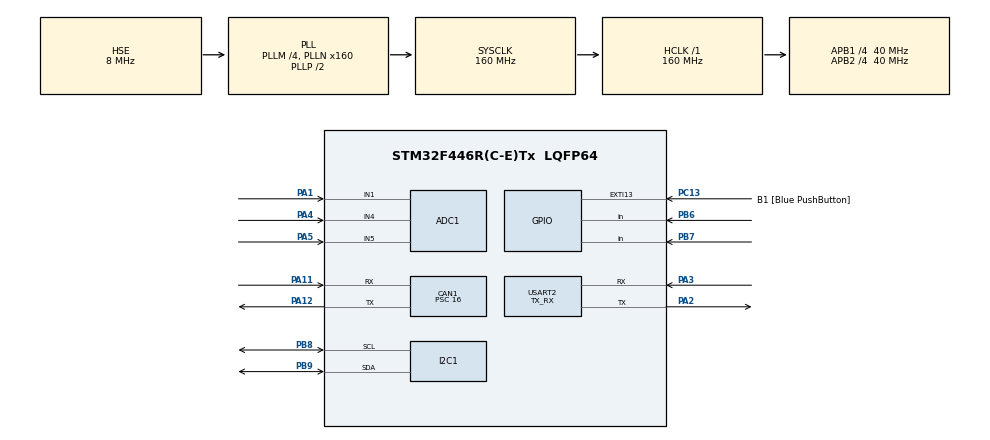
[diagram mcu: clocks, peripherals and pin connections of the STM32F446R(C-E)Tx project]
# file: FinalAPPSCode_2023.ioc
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ADC1.Channel-0\#ChannelRegularConversion=ADC_CHANNEL_1
ADC1.Channel-6\#ChannelInjectedConversion=ADC_CHANNEL_1
ADC1.Channel-7\#ChannelInjectedConversion=ADC_CHANNEL_4
ADC1.Channel-8\#ChannelInjectedConversion=ADC_CHANNEL_5
ADC1.ContinuousConvMode=ENABLE
ADC1.DMAContinuousRequests=DISABLE
ADC1.EOCSelection=ADC_EOC_SEQ_CONV
ADC1.ExternalTrigInjecConv=ADC_EXTERNALTRIGINJECCONV_T5_TRGO
ADC1.InjNumberOfConversion=3
ADC1.InjectedOffset-6\#ChannelInjectedConversion=0
ADC1.InjectedOffset-7\#ChannelInjectedConversion=0
ADC1.InjectedOffset-8\#ChannelInjectedConversion=0
ADC1.InjectedRank-6\#ChannelInjectedConversion=1
ADC1.InjectedRank-7\#ChannelInjectedConversion=2
ADC1.InjectedRank-8\#ChannelInjectedConversion=3
ADC1.NbrOfConversion=1
ADC1.NbrOfConversionFlag=1
ADC1.Rank-0\#ChannelRegularConversion=1
ADC1.SamplingTime-0\#ChannelRegularConversion=ADC_SAMPLETIME_84CYCLES
ADC1.SamplingTime-6\#ChannelInjectedConversion=ADC_SAMPLETIME_84CYCLES
ADC1.SamplingTime-7\#ChannelInjectedConversion=ADC_SAMPLETIME_84CYCLES
ADC1.SamplingTime-8\#ChannelInjectedConversion=ADC_SAMPLETIME_84CYCLES
ADC1.master=1
CAN1.BS1=CAN_BS1_3TQ
CAN1.BS2=CAN_BS2_1TQ
CAN1.CalculateBaudRate=500000
CAN1.CalculateTimeBit=2000
CAN1.CalculateTimeQuantum=400.0
CAN1.Mode=CAN_MODE_NORMAL
CAN1.Prescaler=16
Mcu.Family=STM32F4
Mcu.Name=STM32F446R(C-E)Tx
Mcu.Package=LQFP64
NVIC.CAN1_RX0_IRQn=true\:0\:0\:false\:false\:true\:true\:true\:true
NVIC.CAN1_RX1_IRQn=true\:0\:0\:false\:false\:true\:true\:true\:true
NVIC.PriorityGroup=NVIC_PRIORITYGROUP_0
PA0-WKUP.Signal=ADCx_IN0
PA1.Signal=ADCx_IN1
PA11.Mode=CAN_Activate
PA11.Signal=CAN1_RX
PA12.Mode=CAN_Activate
PA12.Signal=CAN1_TX
PA13.GPIO_Label=TMS
PA13.Mode=Serial_Wire
PA13.Signal=SYS_JTMS-SWDIO
PA14.GPIO_Label=TCK
PA14.Mode=Serial_Wire
PA14.Signal=SYS_JTCK-SWCLK
PA2.Mode=Asynchronous
PA2.Signal=USART2_TX
PA3.Mode=Asynchronous
PA3.Signal=USART2_RX
PA4.Signal=ADCx_IN4
PA5.Signal=ADCx_IN5
PA6.Signal=ADCx_IN6
PA7.Signal=ADCx_IN7
PB3.GPIO_Label=SWO
PB3.Signal=SYS_JTDO-SWO
PB6.Signal=GPIO_Input
PB7.Signal=GPIO_Input
PB8.Mode=I2C
PB8.Signal=I2C1_SCL
PB9.Mode=I2C
PB9.Signal=I2C1_SDA
PC13.GPIO_Label=B1 [Blue PushButton]
PC13.GPIO_ModeDefaultEXTI=GPIO_MODE_IT_FALLING
PC13.Signal=GPXTI13
PC14-OSC32_IN.Mode=LSE-External-Oscillator
PC14-OSC32_IN.Signal=RCC_OSC32_IN
PC15-OSC32_OUT.Mode=LSE-External-Oscillator
PC15-OSC32_OUT.Signal=RCC_OSC32_OUT
PH0-OSC_IN.Mode=HSE-External-Oscillator
PH0-OSC_IN.Signal=RCC_OSC_IN
PH1-OSC_OUT.Mode=HSE-External-Oscillator
PH1-OSC_OUT.Signal=RCC_OSC_OUT
ProjectManager.HeapSize=0x200
ProjectManager.StackSize=0x400
ProjectManager.TargetToolchain=STM32CubeIDE
RCC.48MHZClocksFreq_Value=84000000
RCC.AHBFreq_Value=160000000
RCC.APB1CLKDivider=RCC_HCLK_DIV4
RCC.APB1Freq_Value=40000000
RCC.APB1TimFreq_Value=80000000
RCC.APB2CLKDivider=RCC_HCLK_DIV4
RCC.APB2Freq_Value=40000000
RCC.APB2TimFreq_Value=80000000
RCC.CortexFreq_Value=160000000
RCC.FLatency-AdvancedSettings=FLASH_LATENCY_5
RCC.HCLKFreq_Value=160000000
RCC.HSE_VALUE=8000000
RCC.HSI_VALUE=16000000
RCC.PLLM=4
RCC.PLLN=160
RCC.PLLSourceVirtual=RCC_PLLSOURCE_HSE
RCC.SYSCLKFreq_VALUE=160000000
RCC.SYSCLKSource=RCC_SYSCLKSOURCE_PLLCLK
RCC.USBFreq_Value=160000000
RCC.VCOOutputFreq_Value=320000000
SH.ADCx_IN0.0=ADC1_IN0
SH.ADCx_IN1.0=ADC1_IN1,IN1
SH.ADCx_IN4.0=ADC1_IN4,IN4
SH.ADCx_IN5.0=ADC1_IN5,IN5
SH.ADCx_IN6.0=ADC1_IN6
SH.ADCx_IN7.0=ADC1_IN7
TIM5.Period=999
TIM5.Prescaler=159
TIM5.TIM_MasterOutputTrigger=TIM_TRGO_UPDATE
USART2.Mode=MODE_TX_RX
USART2.VirtualMode=VM_ASYNC
VP_TIM5_VS_ClockSourceINT.Mode=Internal
board=NUCLEO-F446RE

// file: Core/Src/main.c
/* USER CODE BEGIN Header */
/**
  ******************************************************************************
  * @file           : main.c
  * @brief          : Main program body
  ******************************************************************************
  * @attention
  *
  * Copyright (c) 2022 STMicroelectronics.
  * All rights reserved.
  *
  * This software is licensed under terms that can be found in the LICENSE file
  * in the root directory of this software component.
  * If no LICENSE file comes with this software, it is provided AS-IS.
  *
  ******************************************************************************
  */
/* USER CODE END Header */
#include "main.h"

/* USER CODE BEGIN Includes */
#include "FEB_CAN.h"
#include "stdio.h"
#include <stdlib.h>
#include <stdbool.h>

/* USER CODE END Includes */

/* USER CODE BEGIN PD */
#define SLEEP_TIME 10

#define ACC_PEDAL_1_START 860.0
#define ACC_PEDAL_1_END 1110.0

#define ACC_PEDAL_2_START 3245.0
#define ACC_PEDAL_2_END 2995.0

//#define BRAKE_PEDAL_1_START 1350.0
//#define BRAKE_PEDAL_1_END 910.0

#define BRAKE_PEDAL_1_START 385.0
#define BRAKE_PEDAL_1_END 565.0

#define BRAKE_PEDAL_2_START 1390.0
#define BRAKE_PEDAL_2_END 1160.0

#define PRESURE_START 345.0
#define PRESURE_END 380.0

#define INIT_VOLTAGE 242 // initial voltage of accumulator
#define PEAK_CURRENT 95  // max current (in amps) we want to pull
#define MAX_TORQUE 230
#define RPM_TO_RAD_S .10472

const uint16_t Sensor_Min = 4095.0/5.0*0.5;
const uint16_t Sensor_Max = 4095.0/5.0*4.5;
/* USER CODE END PD */

ADC_HandleTypeDef hadc1;

CAN_HandleTypeDef hcan1;

I2C_HandleTypeDef hi2c1;

TIM_HandleTypeDef htim5;

UART_HandleTypeDef huart2;

/* USER CODE BEGIN PV */
uint32_t buffer[6]; //Storing two values in the buffer
bool isImpl = false;

struct {
  uint16_t torque;
  uint8_t enabled;
} RMSControl;

float normalized_acc;
float normalized_brake;

const uint8_t TPS_ADDR = 0b1000000 << 1;
// configuration register value
uint8_t CONFIG[2] = {0b01000001, 0b00100111}; // default settings
/*
 * Values needed to calibrate each of the TPS chips. This value gets passed
 * into the init function called in later
 */

// calibration register values
uint8_t MAIN_CAL[2] = {0b00111000, 0b10010000}; // Imax = 50A (change?)
// alert types
uint8_t UNDERV[2] = {0b00010000, 0b00000000};
uint8_t OVERPWR[2] = {0b00001000, 0b00000000};
// limits
uint8_t TPS_LIMIT[2] = {0b00000000, 0b00010110}; // = 22 (change?)
float current_reading;
float voltage_reading;
float shunt_voltage;

//float pedal1;
//float pedal2;
//float pedal3;
//float pedal4;
/*  VALUES FOR DEBUGGING THE BUFFER
float pedal5;
float pedal6;
*/

//float getPedal(uint32_t variable){
//	return (float)variable*3.3/4096;
//}

float FEB_Normalized_Acc_Pedals(){
	// raw ADC readings of the two acc pedal sensors
	uint16_t acc_pedal_1 = HAL_ADCEx_InjectedGetValue(&hadc1, ADC_INJECTED_RANK_2);
	uint16_t acc_pedal_2 = HAL_ADCEx_InjectedGetValue(&hadc1, ADC_INJECTED_RANK_3);
	char buf[128];
	uint8_t buf_len;
	buf_len = sprintf(buf, "acc1:%d acc2:%d\n", acc_pedal_1, acc_pedal_2);
	//HAL_UART_Transmit(&huart2,(uint8_t *)buf, buf_len, HAL_MAX_DELAY);

	// check implausibility for shorting
	if (acc_pedal_1 < Sensor_Min || acc_pedal_1 > Sensor_Max
			|| acc_pedal_2 < Sensor_Min || acc_pedal_2 > Sensor_Max
			|| abs(acc_pedal_1 - acc_pedal_2) < 100) {
		isImpl = true;
		return 0.0;
	}

	//convert to % travel
	// sensor 1 has positive slope
	float ped1_normalized = (acc_pedal_1 - ACC_PEDAL_1_START)/ (ACC_PEDAL_1_END - ACC_PEDAL_1_START);
	// sensor 2 has negative slope
	float ped2_normalized = (acc_pedal_2 - ACC_PEDAL_2_START) / (ACC_PEDAL_2_END - ACC_PEDAL_2_START);

	// sensor measurements mismatch by more than 10%
	if(abs(ped1_normalized - ped2_normalized) > 0.1 ){
		isImpl = true;
		return 0.0;
	}

	float final_normalized = 0.5*(ped1_normalized + ped2_normalized);

	// Implausiblity check if both pedals are stepped
	if (normalized_brake > 0.2 && normalized_acc > 0.1) {
		isImpl = true;
	}

	// recover from implausibility if acc pedal is not 5% less
	if (final_normalized < 0.05 && isImpl) {
		isImpl = false;
	}

	if (!isImpl) {
		final_normalized = final_normalized > 1 ? 1 : final_normalized;
		final_normalized = final_normalized < 0.05 ? 0 : final_normalized;
		return final_normalized;
	} else {
		return 0.0;
	}
}

float FEB_Normalized_Brake_Pedals(){
	uint16_t brake_pedal_1 = HAL_ADCEx_InjectedGetValue(&hadc1, ADC_INJECTED_RANK_1);
	char buf[128];
		uint8_t buf_len;
		buf_len = sprintf(buf, "brake%d\n", brake_pedal_1);
		//HAL_UART_Transmit(&huart2,(uint8_t *)buf, buf_len, HAL_MAX_DELAY);

	float final_normalized = (brake_pedal_1 - BRAKE_PEDAL_1_START)/ (BRAKE_PEDAL_1_END - BRAKE_PEDAL_1_START);
	final_normalized = final_normalized > 1 ? 1 : final_normalized;
	final_normalized = final_normalized < 0.05 ? 0 : final_normalized;

	if (brake_pedal_1 < 10 || brake_pedal_1 > 4085) {
		return 0.0;
	}

	return final_normalized;
}

void FEB_APPS_sendBrake(){
	FEB_CAN_Transmit(&hcan1,APPS_BRAKE_PEDAL,&normalized_brake,sizeof(float));
}

void FEB_RMS_updateTorque() {
  uint8_t message_data[8] = {RMSControl.torque & 0xFF, RMSControl.torque >> 8, 0, 0, 0, RMSControl.enabled, 0, 0};
  FEB_CAN_Transmit(&hcan1, 0x0C0, message_data, 8);
}

void FEB_RMS_setTorque(uint16_t torque) {
  RMSControl.torque = torque * 10;
  FEB_RMS_updateTorque();
}

void FEB_RMS_enable() {
  RMSControl.enabled = 1;
  FEB_RMS_updateTorque();
}

void FEB_RMS_disable() {
  RMSControl.enabled = 0;
  FEB_RMS_updateTorque();
}

void FEB_RMS_Init(){
	// Clear fault in case inverter is powered up before disable command is sent
	uint8_t fault_clear_addr = 20;
	uint8_t fault_clear_data = 0;
	// param msg format (little-endian):
	// 0,1: param addr
	// 2: r/w cmd
	// 3: NA
	// 4,5: data
	// 6,7: NA
	uint8_t param_msg[8] = {fault_clear_addr, 0, 1, 0, fault_clear_data, 0, 0, 0};
	FEB_CAN_Transmit(&hcan1, 0x0C1, param_msg, 8);

	// send disable command to remove lockout
	uint8_t message_data[8] = {0,0,0,0,0,0,0};
	for (int i = 0; i < 10; i++) {
		FEB_CAN_Transmit(&hcan1, 0x0C0, message_data, 8);
		HAL_Delay(10);
	}

	// Select CAN msg to broadcast
	uint8_t param_addr = 148;
	uint8_t CAN_active_msg_byte4 = 0b10100000; // motor position, input voltage
	uint8_t CAN_active_msg_byte5 = 0b10010100; // flux info (dq axes), torque/timer info, internal states
//	uint8_t CAN_active_msg_byte4 = 0xff;
//	uint8_t CAN_active_msg_byte5 = 0xff;
	uint8_t broadcast_msg[8] = {param_addr, 0, 1, 0, CAN_active_msg_byte4, CAN_active_msg_byte5, 0, 0};
	FEB_CAN_Transmit(&hcan1, 0x0C1, broadcast_msg, 8);
}

int16_t min(int16_t x1, int16_t x2) {
	if (x1 < x2) {
		return x1;
	}
	return x2;
}
// returns a maximum torque that can be given from the motor at a given RPM and voltage
uint16_t FEB_getMaxTorque(int16_t voltage, int16_t RPM) {
	int16_t accumulator_voltage = min(INIT_VOLTAGE, (voltage-50) / 10);
	int16_t motor_speed = -1 * RPM * RPM_TO_RAD_S;
	if (motor_speed == 0) {
		return MAX_TORQUE;
	}
	uint16_t maxTorque = min(MAX_TORQUE, (accumulator_voltage * PEAK_CURRENT) / motor_speed);
	return maxTorque;
}

/* USER CODE END PV */

void SystemClock_Config(void);
static void MX_GPIO_Init(void);
static void MX_USART2_UART_Init(void);
static void MX_CAN1_Init(void);
static void MX_ADC1_Init(void);
static void MX_TIM5_Init(void);
static void MX_I2C1_Init(void);

int main(void)
{

  /* MCU Configuration--------------------------------------------------------*/

  /* Reset of all peripherals, Initializes the Flash interface and the Systick. */
  HAL_Init();

  /* Configure the system clock */
  SystemClock_Config();

  /* Initialize all configured peripherals */
  MX_GPIO_Init();
  MX_USART2_UART_Init();
  MX_CAN1_Init();
  MX_ADC1_Init();
  MX_TIM5_Init();
  MX_I2C1_Init();
  /* USER CODE BEGIN 2 */
  HAL_ADCEx_InjectedStart(&hadc1);
  HAL_TIM_Base_Start(&htim5);
  FEB_TPS2482_SETUP(&hi2c1, TPS_ADDR, CONFIG, MAIN_CAL, UNDERV, TPS_LIMIT);

  char buf[128];
  uint8_t buf_len;

  FEB_CAN_Init(&hcan1, APPS_ID); // The transceiver must be connected otherwise you get sent into an infinite loop
  RMSControl.enabled = 0;
  RMSControl.torque= 0.0;

  /* USER CODE END 2 */

  /* Infinite loop */
  while(1)
  {

    /* USER CODE BEGIN 3 */

	  //ready to drive
	  if (SW_MESSAGE.ready_to_drive == 1) {
		  normalized_acc = FEB_Normalized_Acc_Pedals();
		  if (!RMSControl.enabled) {  // when the car just powered on, driver commands ready to drive but rms is not enabled
			  FEB_RMS_Init();
			  RMSControl.enabled = 1;
		  }
	  } else {
		  normalized_acc = FEB_Normalized_Acc_Pedals();
		  normalized_acc = 0.0;
		  RMSControl.enabled = 0;
	  }
	  // Top line is Evan's new function, Bottom line is old APPS function
	  uint16_t torque = normalized_acc * FEB_getMaxTorque(RMS_MESSAGE.HV_Bus_Voltage, RMS_MESSAGE.Motor_Speed);
	  //uint16_t torque = normalized_acc * 130;
	  normalized_brake = FEB_Normalized_Brake_Pedals();
	  FEB_RMS_setTorque(torque);
	  FEB_APPS_sendBrake();

	  // Take and send TPS reading
	  current_reading = FEB_TPS2482_PollBusCurrent(&hi2c1,TPS_ADDR+1);
	  voltage_reading = FEB_TPS2482_PollBusVoltage(&hi2c1, TPS_ADDR+1);
	  shunt_voltage = FEB_TPS2482_GetShunt(&hi2c1, TPS_ADDR+1);
	  FEB_CAN_Transmit(&hcan1,APPS_TPS,&current_reading,sizeof(float));

	  //buf_len = sprintf(buf, "rtd:%d, enable:%d lockout:%d impl:%d acc: %.3f brake: %.3f Bus Voltage: %d Motor Speed: %d current: %.3f voltage: %.3f lvpdb current: %.3f\n", SW_MESSAGE.ready_to_drive, Inverter_enable, Inverter_enable_lockout, isImpl, normalized_acc, normalized_brake, RMS_MESSAGE.HV_Bus_Voltage, RMS_MESSAGE.Motor_Speed, current_reading, voltage_reading, LVPDB_MESSAGE.cp_current);
	  buf_len = sprintf(buf, "current: %.3f voltage: %.3f shuntvolt: %.8f \n", current_reading, voltage_reading,shunt_voltage);
	  HAL_UART_Transmit(&huart2,(uint8_t *)buf, buf_len+1, 1000);
	  //HAL_UART_Transmit(&huart2, "Hello", 5,1000);
	  HAL_Delay(1000);
  }
  /* USER CODE END 3 */
}

void SystemClock_Config(void)
{
  RCC_OscInitTypeDef RCC_OscInitStruct = {0};
  RCC_ClkInitTypeDef RCC_ClkInitStruct = {0};

  /** Configure the main internal regulator output voltage
  */
  __HAL_RCC_PWR_CLK_ENABLE();
  __HAL_PWR_VOLTAGESCALING_CONFIG(PWR_REGULATOR_VOLTAGE_SCALE1);

  /** Initializes the RCC Oscillators according to the specified parameters
  * in the RCC_OscInitTypeDef structure.
  */
  RCC_OscInitStruct.OscillatorType = RCC_OSCILLATORTYPE_HSE;
  RCC_OscInitStruct.HSEState = RCC_HSE_ON;
  RCC_OscInitStruct.PLL.PLLState = RCC_PLL_ON;
  RCC_OscInitStruct.PLL.PLLSource = RCC_PLLSOURCE_HSE;
  RCC_OscInitStruct.PLL.PLLM = 4;
  RCC_OscInitStruct.PLL.PLLN = 160;
  RCC_OscInitStruct.PLL.PLLP = RCC_PLLP_DIV2;
  RCC_OscInitStruct.PLL.PLLQ = 2;
  RCC_OscInitStruct.PLL.PLLR = 2;
  if (HAL_RCC_OscConfig(&RCC_OscInitStruct) != HAL_OK)
  {
    Error_Handler();
  }

  /** Initializes the CPU, AHB and APB buses clocks
  */
  RCC_ClkInitStruct.ClockType = RCC_CLOCKTYPE_HCLK|RCC_CLOCKTYPE_SYSCLK
                              |RCC_CLOCKTYPE_PCLK1|RCC_CLOCKTYPE_PCLK2;
  RCC_ClkInitStruct.SYSCLKSource = RCC_SYSCLKSOURCE_PLLCLK;
  RCC_ClkInitStruct.AHBCLKDivider = RCC_SYSCLK_DIV1;
  RCC_ClkInitStruct.APB1CLKDivider = RCC_HCLK_DIV4;
  RCC_ClkInitStruct.APB2CLKDivider = RCC_HCLK_DIV4;

  if (HAL_RCC_ClockConfig(&RCC_ClkInitStruct, FLASH_LATENCY_5) != HAL_OK)
  {
    Error_Handler();
  }
}

static void MX_ADC1_Init(void)
{

  ADC_ChannelConfTypeDef sConfig = {0};
  ADC_InjectionConfTypeDef sConfigInjected = {0};

  /** Configure the global features of the ADC (Clock, Resolution, Data Alignment and number of conversion)
  */
  hadc1.Instance = ADC1;
  hadc1.Init.ClockPrescaler = ADC_CLOCK_SYNC_PCLK_DIV2;
  hadc1.Init.Resolution = ADC_RESOLUTION_12B;
  hadc1.Init.ScanConvMode = ENABLE;
  hadc1.Init.ContinuousConvMode = ENABLE;
  hadc1.Init.DiscontinuousConvMode = DISABLE;
  hadc1.Init.ExternalTrigConvEdge = ADC_EXTERNALTRIGCONVEDGE_NONE;
  hadc1.Init.ExternalTrigConv = ADC_SOFTWARE_START;
  hadc1.Init.DataAlign = ADC_DATAALIGN_RIGHT;
  hadc1.Init.NbrOfConversion = 1;
  hadc1.Init.DMAContinuousRequests = DISABLE;
  hadc1.Init.EOCSelection = ADC_EOC_SEQ_CONV;
  if (HAL_ADC_Init(&hadc1) != HAL_OK)
  {
    Error_Handler();
  }

  /** Configure for the selected ADC regular channel its corresponding rank in the sequencer and its sample time.
  */
  sConfig.Channel = ADC_CHANNEL_1;
  sConfig.Rank = 1;
  sConfig.SamplingTime = ADC_SAMPLETIME_84CYCLES;
  if (HAL_ADC_ConfigChannel(&hadc1, &sConfig) != HAL_OK)
  {
    Error_Handler();
  }

  /** Configures for the selected ADC injected channel its corresponding rank in the sequencer and its sample time
  */
  sConfigInjected.InjectedChannel = ADC_CHANNEL_1;
  sConfigInjected.InjectedRank = 1;
  sConfigInjected.InjectedNbrOfConversion = 3;
  sConfigInjected.InjectedSamplingTime = ADC_SAMPLETIME_84CYCLES;
  sConfigInjected.ExternalTrigInjecConvEdge = ADC_EXTERNALTRIGINJECCONVEDGE_RISING;
  sConfigInjected.ExternalTrigInjecConv = ADC_EXTERNALTRIGINJECCONV_T5_TRGO;
  sConfigInjected.AutoInjectedConv = DISABLE;
  sConfigInjected.InjectedDiscontinuousConvMode = DISABLE;
  sConfigInjected.InjectedOffset = 0;
  if (HAL_ADCEx_InjectedConfigChannel(&hadc1, &sConfigInjected) != HAL_OK)
  {
    Error_Handler();
  }

  /** Configures for the selected ADC injected channel its corresponding rank in the sequencer and its sample time
  */
  sConfigInjected.InjectedChannel = ADC_CHANNEL_4;
  sConfigInjected.InjectedRank = 2;
  if (HAL_ADCEx_InjectedConfigChannel(&hadc1, &sConfigInjected) != HAL_OK)
  {
    Error_Handler();
  }

  /** Configures for the selected ADC injected channel its corresponding rank in the sequencer and its sample time
  */
  sConfigInjected.InjectedChannel = ADC_CHANNEL_5;
  sConfigInjected.InjectedRank = 3;
  if (HAL_ADCEx_InjectedConfigChannel(&hadc1, &sConfigInjected) != HAL_OK)
  {
    Error_Handler();
  }

}

static void MX_CAN1_Init(void)
{

  hcan1.Instance = CAN1;
  hcan1.Init.Prescaler = 16;
  hcan1.Init.Mode = CAN_MODE_NORMAL;
  hcan1.Init.SyncJumpWidth = CAN_SJW_1TQ;
  hcan1.Init.TimeSeg1 = CAN_BS1_3TQ;
  hcan1.Init.TimeSeg2 = CAN_BS2_1TQ;
  hcan1.Init.TimeTriggeredMode = DISABLE;
  hcan1.Init.AutoBusOff = DISABLE;
  hcan1.Init.AutoWakeUp = DISABLE;
  hcan1.Init.AutoRetransmission = DISABLE;
  hcan1.Init.ReceiveFifoLocked = DISABLE;
  hcan1.Init.TransmitFifoPriority = DISABLE;
  if (HAL_CAN_Init(&hcan1) != HAL_OK)
  {
    Error_Handler();
  }

}

static void MX_I2C1_Init(void)
{

  hi2c1.Instance = I2C1;
  hi2c1.Init.ClockSpeed = 100000;
  hi2c1.Init.DutyCycle = I2C_DUTYCYCLE_2;
  hi2c1.Init.OwnAddress1 = 0;
  hi2c1.Init.AddressingMode = I2C_ADDRESSINGMODE_7BIT;
  hi2c1.Init.DualAddressMode = I2C_DUALADDRESS_DISABLE;
  hi2c1.Init.OwnAddress2 = 0;
  hi2c1.Init.GeneralCallMode = I2C_GENERALCALL_DISABLE;
  hi2c1.Init.NoStretchMode = I2C_NOSTRETCH_DISABLE;
  if (HAL_I2C_Init(&hi2c1) != HAL_OK)
  {
    Error_Handler();
  }

}

static void MX_TIM5_Init(void)
{

  TIM_ClockConfigTypeDef sClockSourceConfig = {0};
  TIM_MasterConfigTypeDef sMasterConfig = {0};

  htim5.Instance = TIM5;
  htim5.Init.Prescaler = 159;
  htim5.Init.CounterMode = TIM_COUNTERMODE_UP;
  htim5.Init.Period = 999;
  htim5.Init.ClockDivision = TIM_CLOCKDIVISION_DIV1;
  htim5.Init.AutoReloadPreload = TIM_AUTORELOAD_PRELOAD_DISABLE;
  if (HAL_TIM_Base_Init(&htim5) != HAL_OK)
  {
    Error_Handler();
  }
  sClockSourceConfig.ClockSource = TIM_CLOCKSOURCE_INTERNAL;
  if (HAL_TIM_ConfigClockSource(&htim5, &sClockSourceConfig) != HAL_OK)
  {
    Error_Handler();
  }
  sMasterConfig.MasterOutputTrigger = TIM_TRGO_UPDATE;
  sMasterConfig.MasterSlaveMode = TIM_MASTERSLAVEMODE_DISABLE;
  if (HAL_TIMEx_MasterConfigSynchronization(&htim5, &sMasterConfig) != HAL_OK)
  {
    Error_Handler();
  }

}

static void MX_USART2_UART_Init(void)
{

  huart2.Instance = USART2;
  huart2.Init.BaudRate = 115200;
  huart2.Init.WordLength = UART_WORDLENGTH_8B;
  huart2.Init.StopBits = UART_STOPBITS_1;
  huart2.Init.Parity = UART_PARITY_NONE;
  huart2.Init.Mode = UART_MODE_TX_RX;
  huart2.Init.HwFlowCtl = UART_HWCONTROL_NONE;
  huart2.Init.OverSampling = UART_OVERSAMPLING_16;
  if (HAL_UART_Init(&huart2) != HAL_OK)
  {
    Error_Handler();
  }

}

static void MX_GPIO_Init(void)
{
  GPIO_InitTypeDef GPIO_InitStruct = {0};

  /* GPIO Ports Clock Enable */
  __HAL_RCC_GPIOC_CLK_ENABLE();
  __HAL_RCC_GPIOH_CLK_ENABLE();
  __HAL_RCC_GPIOA_CLK_ENABLE();
  __HAL_RCC_GPIOB_CLK_ENABLE();

  /*Configure GPIO pin : B1_Pin */
  GPIO_InitStruct.Pin = B1_Pin;
  GPIO_InitStruct.Mode = GPIO_MODE_IT_FALLING;
  GPIO_InitStruct.Pull = GPIO_NOPULL;
  HAL_GPIO_Init(B1_GPIO_Port, &GPIO_InitStruct);

  /*Configure GPIO pins : PB6 PB7 */
  GPIO_InitStruct.Pin = GPIO_PIN_6|GPIO_PIN_7;
  GPIO_InitStruct.Mode = GPIO_MODE_INPUT;
  GPIO_InitStruct.Pull = GPIO_NOPULL;
  HAL_GPIO_Init(GPIOB, &GPIO_InitStruct);

}

void Error_Handler(void)
{
  __disable_irq();
  while (1)
  {
  }
}
